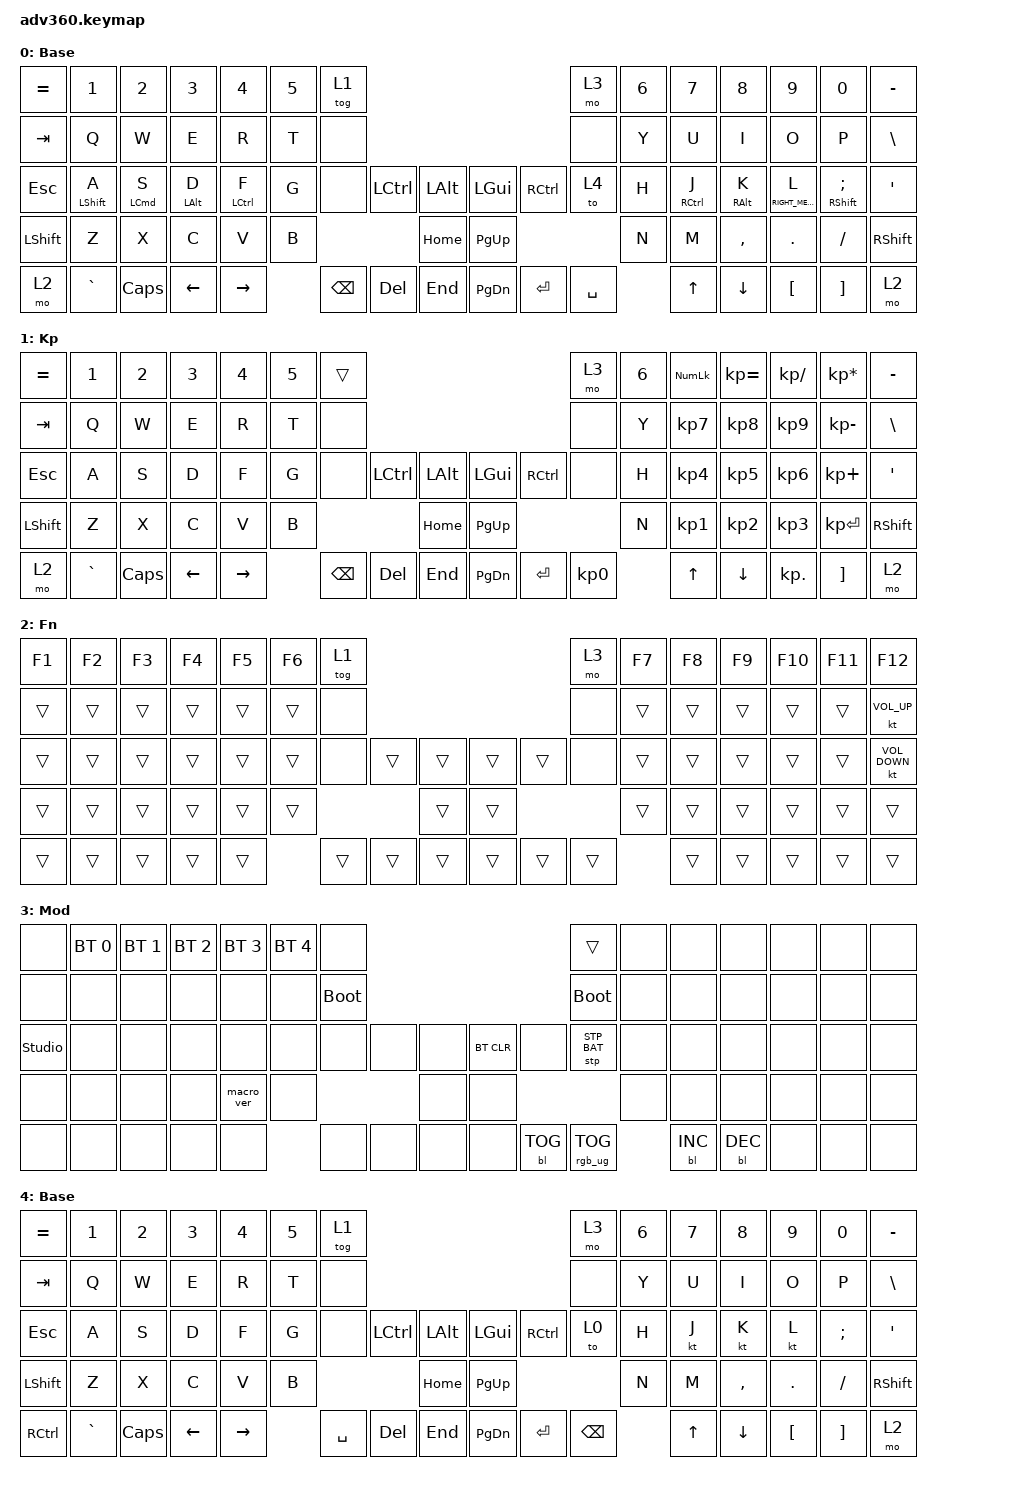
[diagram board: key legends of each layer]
#include <dt-bindings/zmk/stp.h>
#include <behaviors.dtsi>
#include <dt-bindings/zmk/backlight.h>
#include <dt-bindings/zmk/bt.h>
#include <dt-bindings/zmk/keys.h>
#include <dt-bindings/zmk/rgb.h>

/ {
    behaviors {
        #include "macros.dtsi"
      #include "version.dtsi"

        hm: homerow_mods {
            compatible = "zmk,behavior-hold-tap";
            label = "HOMEROW_MODS";
            #binding-cells = <2>;
            tapping-term-ms = <200>;
            quick_tap_ms = <175>;
            flavor = "tap-preferred";
            bindings = <&kp>, <&kp>;
        };
    };

    keymap {
        compatible = "zmk,keymap";

        default_layer {
            display-name = "Base";
            bindings = <
&kp EQUAL  &kp N1            &kp N2              &kp N3          &kp N4       &kp N5  &tog 1                                                   &mo 3      &kp N6  &kp N7       &kp N8           &kp N9            &kp N0                &kp MINUS
&kp TAB    &kp Q             &kp W               &kp E           &kp R        &kp T   &none                                                    &none      &kp Y   &kp U        &kp I            &kp O             &kp P                 &kp BSLH
&kp ESC    &hm LEFT_SHIFT A  &hm LEFT_COMMAND S  &hm LEFT_ALT D  &hm LCTRL F  &kp G   &none     &kp LCTRL  &kp LALT      &kp LGUI   &kp RCTRL  &to 4      &kp H   &hm RCTRL J  &hm RIGHT_ALT K  &hm RIGHT_META L  &hm RSHIFT SEMICOLON  &kp SQT
&kp LSHFT  &kp Z             &kp X               &kp C           &kp V        &kp B                        &kp HOME      &kp PG_UP                        &kp N   &kp M        &kp COMMA        &kp DOT           &kp FSLH              &kp RSHFT
&mo 2      &kp GRAVE         &kp CAPS            &kp LEFT        &kp RIGHT            &kp BSPC  &kp DEL    &kp END       &kp PG_DN  &kp ENTER  &kp SPACE          &kp UP       &kp DOWN         &kp LBKT          &kp RBKT              &mo 2
            >;
        };

        keypad {
            display-name = "Kp";
            bindings = <
&kp EQUAL  &kp N1     &kp N2    &kp N3    &kp N4     &kp N5  &trans                                                   &mo 3      &kp N6  &kp KP_NUM  &kp KP_EQUAL  &kp KP_DIVIDE  &kp KP_MULTIPLY  &kp MINUS
&kp TAB    &kp Q      &kp W     &kp E     &kp R      &kp T   &none                                                    &none      &kp Y   &kp KP_N7   &kp KP_N8     &kp KP_N9      &kp KP_MINUS     &kp BSLH
&kp ESC    &kp A      &kp S     &kp D     &kp F      &kp G   &none     &kp LCTRL  &kp LALT      &kp LGUI   &kp RCTRL  &none      &kp H   &kp KP_N4   &kp KP_N5     &kp KP_N6      &kp KP_PLUS      &kp SQT
&kp LSHFT  &kp Z      &kp X     &kp C     &kp V      &kp B                        &kp HOME      &kp PG_UP                        &kp N   &kp KP_N1   &kp KP_N2     &kp KP_N3      &kp KP_ENTER     &kp RSHFT
&mo 2      &kp GRAVE  &kp CAPS  &kp LEFT  &kp RIGHT          &kp BSPC  &kp DEL    &kp END       &kp PG_DN  &kp ENTER  &kp KP_N0          &kp UP      &kp DOWN      &kp KP_DOT     &kp RBKT         &mo 2
            >;
        };

        fn {
            display-name = "Fn";
            bindings = <
&kp F1  &kp F2  &kp F3  &kp F4  &kp F5  &kp F6  &tog 1                                      &mo 3   &kp F7  &kp F8  &kp F9  &kp F10  &kp F11  &kp F12
&trans  &trans  &trans  &trans  &trans  &trans  &none                                       &none   &trans  &trans  &trans  &trans   &trans   &kt C_VOL_UP
&trans  &trans  &trans  &trans  &trans  &trans  &none   &trans  &trans      &trans  &trans  &none   &trans  &trans  &trans  &trans   &trans   &kt C_VOLUME_DOWN
&trans  &trans  &trans  &trans  &trans  &trans                  &trans      &trans                  &trans  &trans  &trans  &trans   &trans   &trans
&trans  &trans  &trans  &trans  &trans          &trans  &trans  &trans      &trans  &trans  &trans          &trans  &trans  &trans   &trans   &trans
            >;
        };

        mod {
            display-name = "Mod";
            bindings = <
&none           &bt BT_SEL 0  &bt BT_SEL 1  &bt BT_SEL 2  &bt BT_SEL 3  &bt BT_SEL 4  &none                                                  &trans           &none  &none       &none       &none  &none  &none
&none           &none         &none         &none         &none         &none         &bootloader                                            &bootloader      &none  &none       &none       &none  &none  &none
&studio_unlock  &none         &none         &none         &none         &none         &none        &none  &none      &bt BT_CLR  &none       &stp STP_BAT     &none  &none       &none       &none  &none  &none
&none           &none         &none         &none         &macro_ver    &none                             &none      &none                                    &none  &none       &none       &none  &none  &none
&none           &none         &none         &none         &none                       &none        &none  &none      &none       &bl BL_TOG  &rgb_ug RGB_TOG         &bl BL_INC  &bl BL_DEC  &none  &none  &none
            >;
        };

        gaming {
            display-name = "Base";
            bindings = <
&kp EQUAL  &kp N1     &kp N2    &kp N3    &kp N4     &kp N5  &tog 1                                                    &mo 3          &kp N6  &kp N7  &kp N8     &kp N9    &kp N0         &kp MINUS
&kp TAB    &kp Q      &kp W     &kp E     &kp R      &kp T   &none                                                     &none          &kp Y   &kp U   &kp I      &kp O     &kp P          &kp BSLH
&kp ESC    &kp A      &kp S     &kp D     &kp F      &kp G   &none      &kp LCTRL  &kp LALT      &kp LGUI   &kp RCTRL  &to 0          &kp H   &kt J   &kt K      &kt L     &kp SEMICOLON  &kp SQT
&kp LSHFT  &kp Z      &kp X     &kp C     &kp V      &kp B                         &kp HOME      &kp PG_UP                            &kp N   &kp M   &kp COMMA  &kp DOT   &kp FSLH       &kp RSHFT
&kp RCTRL  &kp GRAVE  &kp CAPS  &kp LEFT  &kp RIGHT          &kp SPACE  &kp DEL    &kp END       &kp PG_DN  &kp ENTER  &kp BACKSPACE          &kp UP  &kp DOWN   &kp LBKT  &kp RBKT       &mo 2
            >;
        };
    };
};
